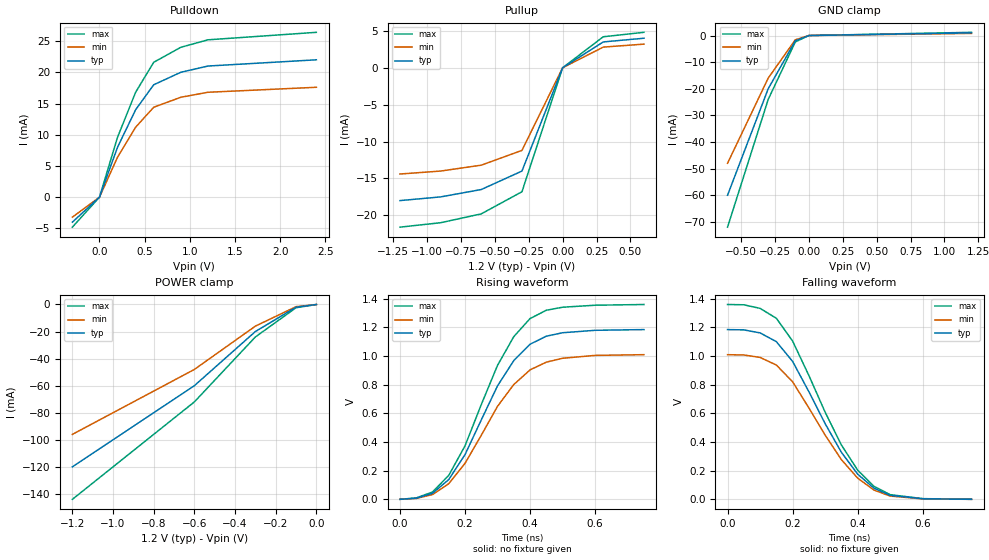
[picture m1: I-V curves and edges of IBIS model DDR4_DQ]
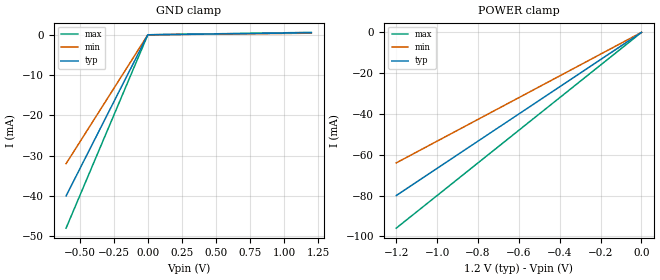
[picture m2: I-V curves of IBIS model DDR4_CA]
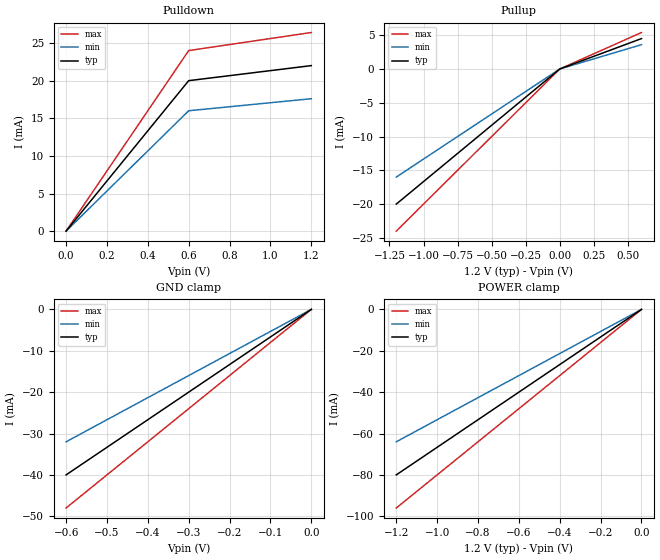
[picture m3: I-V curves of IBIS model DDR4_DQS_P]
| IBIS file: sample_ddr4.ibs
| Description: Simplified DDR4 x8 SDRAM I/O model — Rising Edge sample
| Based on JEDEC DDR4 3200 speed grade characteristics
[IBIS Ver]   6.1
[File Name]   sample_ddr4.ibs
[File Rev]   2.0
[Date]   2024-01-15
[Source]   Rising Edge IBIS-Studio — DDR4 sample file
[Notes]   Simplified DDR4 SDRAM model for signal integrity training.
|   Not for production use. Based on public JEDEC JESD79-4B spec.
[Disclaimer]   This model is for educational use only and does not represent
|   any real device.
[Copyright]   Copyright 2024 Rising Edge.
[Component]   SAMPLE_DDR4_x8
[Manufacturer]  Rising Edge (Sample)
[Package]
| variable   typ   min   max
R_pkg   80m   60m   100m
L_pkg   1.800n   1.400n   2.200n
C_pkg   0.800p   0.600p   1.000p
[Pin]  signal_name   model_name
A1   DQ0   DDR4_DQ
A2   DQ1   DDR4_DQ
A3   DQ2   DDR4_DQ
A4   DQ3   DDR4_DQ
B1   DQ4   DDR4_DQ
B2   DQ5   DDR4_DQ
B3   DQ6   DDR4_DQ
B4   DQ7   DDR4_DQ
C1   DQS_T   DDR4_DQS_P
C2   DQS_C   DDR4_DQS_N
D1   DM_N   DDR4_DQ
E1   A0   DDR4_CA
E2   A1   DDR4_CA
E3   A2   DDR4_CA
E4   A3   DDR4_CA
E5   A4   DDR4_CA
E6   A5   DDR4_CA
E7   A6   DDR4_CA
E8   A7   DDR4_CA
E9   A8   DDR4_CA
E10   A9   DDR4_CA
E11   A10   DDR4_CA
E12   A11   DDR4_CA
E13   A12   DDR4_CA
E14   A13   DDR4_CA
E15   A14   DDR4_CA
E16   A15   DDR4_CA
E17   A16   DDR4_CA
F1   BA0   DDR4_CA
F2   BA1   DDR4_CA
F3   BG0   DDR4_CA
F4   BG1   DDR4_CA
F5   RAS_N   DDR4_CA
F6   CAS_N   DDR4_CA
F7   WE_N   DDR4_CA
G1   CS_N   DDR4_CA
G2   ACT_N   DDR4_CA
G3   CKE   DDR4_CA
G4   ODT   DDR4_CA
H1   CK_T   DDR4_CK_P
H2   CK_C   DDR4_CK_N
VDD   VDD   POWER
VSS   VSS   GND
[Diff Pin]  inv_pin   vdiff   tdelay_typ  tdelay_min  tdelay_max
C1   C2   0.200   0.000   NA   NA
H1   H2   0.200   0.000   NA   NA
| Models and submodels in the file (6): DDR4_DQ (I/O), DDR4_CA (Input), DDR4_DQS_P (I/O), DDR4_DQS_N (I/O), DDR4_CK_P (Output), DDR4_CK_N (Output)
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| ──────────────────────────────────────────────────────────────────────
| Model: DDR4_DQ — DDR4 Data I/O (POD12 signaling)
| ──────────────────────────────────────────────────────────────────────
[Model]   DDR4_DQ
Model_type   I/O
Polarity   Non-Inverting
Enable   Active-High
Vinl   0.350
Vinh   0.850
Vmeas   0.600
Cref   0
Rref   40
Vref   0.600
[Voltage Range]   1.200   1.140   1.260
[Temperature Range] 25   0   95
[Pullup Reference]  1.200   1.140   1.260
[Pulldown Reference] 0.000   0.000   0.000
[Power Clamp Reference] 1.200 1.140   1.260
[GND Clamp Reference] 0.000   0.000   0.000
[C_comp]   1.800p   1.400p   2.200p
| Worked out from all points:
|   slope of the pulldown table from 0 to 0.18 V, typ, clamps not added: 25 ohm
|   GND clamp passes 1 mA (typ) near -0.05 V on its own axis
|   POWER clamp passes 1 mA (typ) near -0.05 V on its own axis
|   rising waveform, no fixture given: 20-80 % time 166ps typ, 170ps min, 163ps max; typ from 0 V to 1.18 V
|   falling waveform, no fixture given: 20-80 % time 176ps typ, 176ps min, 177ps max; typ from 1.18 V to 0 V
| POD12 — Pseudo Open Drain with on-die termination
[Pullup]
| voltage   I(typ)   I(min)   I(max)
-1.2V     -18mA      -14.4mA    -21.6mA
-900mV    -17.5mA    -14mA      -21mA
-600mV    -16.5mA    -13.2mA    -19.8mA
-300mV    -14mA      -11.2mA    -16.8mA
0V        0A         0A         0A
300mV     3.5mA      2.8mA      4.2mA
600mV     4mA        3.2mA      4.8mA
[Pulldown]
| voltage   I(typ)   I(min)   I(max)
-300mV    -4mA       -3.2mA     -4.8mA
0V        0A         0A         0A
200mV     8mA        6.4mA      9.6mA
400mV     14mA       11.2mA     16.8mA
600mV     18mA       14.4mA     21.6mA
900mV     20mA       16mA       24mA
1.2V      21mA       16.8mA     25.2mA
2.4V      22mA       17.6mA     26.4mA
[Power Clamp]
| voltage   I(typ)   I(min)   I(max)
-1.2V     -120mA     -96mA      -144mA
-900mV    -90mA      -72mA      -108mA
-600mV    -60mA      -48mA      -72mA
-300mV    -20mA      -16mA      -24mA
-100mV    -2mA       -1.6mA     -2.4mA
0V        0A         0A         0A
[GND Clamp]
| voltage   I(typ)   I(min)   I(max)
-600mV    -60mA      -48mA      -72mA
-300mV    -20mA      -16mA      -24mA
-100mV    -2mA       -1.6mA     -2.4mA
0V        0A         0A         0A
1.2V      1mA        800uA      1.2mA
[Ramp]
| variable   typ   min   max
dV/dt_r   1.08/0.5n   0.86/0.5n   1.30/0.5n
dV/dt_f   1.08/0.5n   0.86/0.5n   1.30/0.5n
R_load   40
[Rising Waveform]
R_fixture   40
V_fixture   1.200
| time   V(typ)   V(min)   V(max)
0s        0V         0V         0V
100ps     42mV       33mV       51mV
150ps     138mV      109mV      167mV
200ps     312mV      251mV      373mV
300ps     792mV      649mV      935mV
350ps     968mV      801mV      1.135V
400ps     1.082V     903mV      1.261V
450ps     1.138V     957mV      1.319V
500ps     1.162V     984mV      1.34V
750ps     1.184V     1.009V     1.359V
[Falling Waveform]
R_fixture   40
V_fixture   0.000
| time   V(typ)   V(min)   V(max)
0s        1.184V     1.009V     1.359V
100ps     1.161V     990mV      1.332V
150ps     1.1V       937mV      1.263V
200ps     962mV      820mV      1.104V
350ps     328mV      277mV      379mV
400ps     176mV      148mV      204mV
450ps     78mV       65mV       91mV
500ps     28mV       23mV       33mV
600ps     4.2mV      3.3mV      5.1mV
750ps     400uV      300uV      600uV
| ──────────────────────────────────────────────────────────────────────
| Model: DDR4_CA — DDR4 Command/Address (SSTL12 input only)
| ──────────────────────────────────────────────────────────────────────
[Model]   DDR4_CA
Model_type   Input
Vinl   0.350
Vinh   0.850
Vmeas   0.600
[Voltage Range]   1.200   1.140   1.260
[Temperature Range] 25   0   95
[C_comp]   1.200p   0.900p   1.500p
[Power Clamp]
| voltage   I(typ)   I(min)   I(max)
-1.2V     -80mA      -64mA      -96mA
-600mV    -40mA      -32mA      -48mA
0V        0A         0A         0A
[GND Clamp]
| voltage   I(typ)   I(min)   I(max)
-600mV    -40mA      -32mA      -48mA
0V        0A         0A         0A
1.2V      500uA      400uA      600uA
| ──────────────────────────────────────────────────────────────────────
| Model: DDR4_DQS_P — DDR4 Differential Strobe Positive
| ──────────────────────────────────────────────────────────────────────
[Model]   DDR4_DQS_P
Model_type   I/O
Vinl   0.350
Vinh   0.850
[Voltage Range]   1.200   1.140   1.260
[Temperature Range] 25   0   95
[C_comp]   2.000p   1.600p   2.400p
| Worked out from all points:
|   slope of the pulldown table from 0 to 0.18 V, typ, clamps not added: 30 ohm
[Pullup]
| voltage   I(typ)   I(min)   I(max)
-1.2V     -20mA      -16mA      -24mA
0V        0A         0A         0A
600mV     4.5mA      3.6mA      5.4mA
[Pulldown]
| voltage   I(typ)   I(min)   I(max)
0V        0A         0A         0A
600mV     20mA       16mA       24mA
1.2V      22mA       17.6mA     26.4mA
[Power Clamp]
| voltage   I(typ)   I(min)   I(max)
-1.2V     -80mA      -64mA      -96mA
0V        0A         0A         0A
[GND Clamp]
| voltage   I(typ)   I(min)   I(max)
-600mV    -40mA      -32mA      -48mA
0V        0A         0A         0A
[Ramp]
| variable   typ   min   max
dV/dt_r   1.08/0.5n   0.86/0.5n   1.30/0.5n
dV/dt_f   1.08/0.5n   0.86/0.5n   1.30/0.5n
R_load   40
